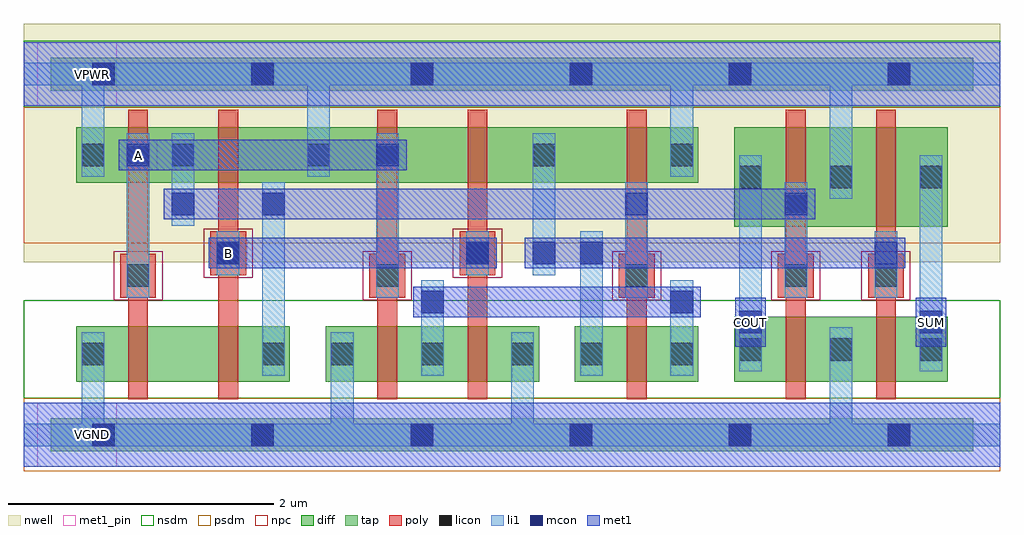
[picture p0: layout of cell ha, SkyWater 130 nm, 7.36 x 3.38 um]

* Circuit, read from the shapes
.subckt ha A B COUT SUM VGND VPWR
XM1 n1 A VGND VGND sky130_fd_pr__nfet_01v8 w=0.42 l=0.15
XM2 n2 B n1 VGND sky130_fd_pr__nfet_01v8 w=0.42 l=0.15
XM3 n3 A VGND VGND sky130_fd_pr__nfet_01v8 w=0.42 l=0.15
XM4 VGND B n3 VGND sky130_fd_pr__nfet_01v8 w=0.42 l=0.15
XM5 n3 n2 n4 VGND sky130_fd_pr__nfet_01v8 w=0.42 l=0.15
XM6 VGND n2 COUT VGND sky130_fd_pr__nfet_01v8 w=0.49 l=0.15
XM7 SUM n4 VGND VGND sky130_fd_pr__nfet_01v8 w=0.49 l=0.15
XM8 n2 A VPWR VPWR sky130_fd_pr__pfet_01v8 w=0.42 l=0.15
XM9 VPWR B n2 VPWR sky130_fd_pr__pfet_01v8 w=0.42 l=0.15
XM10 n5 A VPWR VPWR sky130_fd_pr__pfet_01v8 w=0.42 l=0.15
XM11 n4 B n5 VPWR sky130_fd_pr__pfet_01v8 w=0.42 l=0.15
XM12 VPWR n2 n4 VPWR sky130_fd_pr__pfet_01v8 w=0.42 l=0.15
XM13 VPWR n2 COUT VPWR sky130_fd_pr__pfet_01v8 w=0.75 l=0.15
XM14 SUM n4 VPWR VPWR sky130_fd_pr__pfet_01v8 w=0.75 l=0.15
.ends

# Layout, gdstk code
import gdstk
lib = gdstk.Library(unit=1e-6, precision=1e-09)
def R(c, l, rs):  # rectangles x0, y0, x1, y1
    for r in rs: c.add(gdstk.rectangle(r[:2], r[2:], *l))
def A(c, l, x, y, w, h, nx, ny, dx, dy):  # array of equal rectangles
    R(c, l, [(x+i*dx, y+j*dy, x+i*dx+w, y+j*dy+h) for i in range(nx) for j in range(ny)])
nwell = (64, 20)
diff = (65, 20)
tap = (65, 44)
poly = (66, 20)
licon = (66, 44)
li1 = (67, 20)
mcon = (67, 44)
met1_pin = (68, 16)
met1 = (68, 20)
nsdm = (93, 44)
psdm = (94, 20)
npc = (95, 20)

c_ha = lib.new_cell('ha')
R(c_ha, nwell, [(0,1.3,7.36,3.1)])
R(c_ha, diff, [(0.395,0.4,2.005,0.82), (2.275,0.4,3.885,0.82), (4.155,0.4,5.085,0.82), (5.355,0.4,6.965,0.89), (5.355,1.57,6.965,2.32), (0.395,1.9,5.085,2.32)])
R(c_ha, tap, [(0.2,-0.125,7.16,0.125), (0.2,2.595,7.16,2.845)])
A(c_ha, poly, 3.345, 0.27, 0.15, 2.18, 3, 1, 1.2, 0)
A(c_ha, poly, 0.725, 1.035, 0.27, 0.33, 3, 1, 1.88, 0)
R(c_ha, poly, [(0.785,0.27,0.935,2.45), (1.465,0.27,1.615,2.45), (2.665,0.27,2.815,2.45), (6.425,0.27,6.575,2.45), (5.685,1.035,5.955,1.365), (6.365,1.035,6.635,1.365), (1.405,1.205,1.675,1.535), (3.285,1.205,3.555,1.535)])
A(c_ha, licon, 0.515, -0.085, 0.17, 0.17, 6, 2, 1.2, 2.72)
A(c_ha, licon, 2.315, 0.525, 0.17, 0.17, 3, 1, 0.68, 0)
A(c_ha, licon, 5.395, 0.56, 0.17, 0.17, 3, 2, 0.68, 1.3)
A(c_ha, licon, 0.775, 1.115, 0.17, 0.17, 3, 1, 1.88, 0)
R(c_ha, licon, [(0.435,0.525,0.605,0.695), (1.795,0.525,1.965,0.695), (4.195,0.525,4.365,0.695), (4.875,0.525,5.045,0.695), (5.735,1.115,5.905,1.285), (6.415,1.115,6.585,1.285), (1.455,1.285,1.625,1.455), (3.335,1.285,3.505,1.455), (0.435,2.025,0.605,2.195), (1.115,2.025,1.285,2.195), (2.135,2.025,2.305,2.195), (3.835,2.025,4.005,2.195), (4.875,2.025,5.045,2.195)])
R(c_ha, li1, [(0,-0.085,7.36,0.085), (0.435,0,0.605,0.775), (2.315,0,2.485,0.775), (3.675,0,3.845,0.775), (6.075,0,6.245,0.81), (1.795,0.445,1.965,1.905), (2.995,0.445,3.165,1.165), (4.195,0.445,4.365,1.535), (4.875,0.445,5.045,1.165), (5.395,0.48,5.565,2.11), (6.755,0.48,6.925,2.11), (0.775,1.035,0.945,2.275), (2.655,1.035,2.825,2.275), (4.535,1.035,4.705,1.905), (5.735,1.035,5.905,1.905), (6.415,1.035,6.585,1.535), (1.455,1.205,1.625,1.535), (3.335,1.205,3.505,1.535), (3.835,1.205,4.005,2.275), (1.115,1.575,1.285,2.275), (6.075,1.78,6.245,2.72), (0.435,1.945,0.605,2.72), (2.135,1.945,2.305,2.72), (4.875,1.945,5.045,2.72), (0,2.635,7.36,2.805)])
A(c_ha, mcon, 0.515, -0.085, 0.17, 0.17, 6, 2, 1.2, 2.72)
R(c_ha, mcon, [(5.395,0.765,5.565,0.935), (6.755,0.765,6.925,0.935), (2.995,0.915,3.165,1.085), (4.875,0.915,5.045,1.085), (1.455,1.285,1.625,1.455), (3.335,1.285,3.505,1.455), (3.835,1.285,4.005,1.455), (4.195,1.285,4.365,1.455), (6.415,1.285,6.585,1.455), (1.115,1.655,1.285,1.825), (1.795,1.655,1.965,1.825), (4.535,1.655,4.705,1.825), (5.735,1.655,5.905,1.825), (0.775,2.025,0.945,2.195), (2.655,2.025,2.825,2.195)])
R(c_ha, met1_pin, [(0.1,-0.24,0.7,0.24), (5.365,0.665,5.595,1.035), (6.725,0.665,6.955,1.035), (1.395,1.255,1.685,1.485), (0.715,1.995,1.005,2.225), (0.1,2.48,0.7,2.96)])
R(c_ha, met1, [(0,-0.24,7.36,0.24), (5.365,0.665,5.595,1.035), (6.725,0.665,6.955,1.035), (2.935,0.885,3.225,1.115), (2.935,0.885,5.105,1.115), (4.815,0.885,5.105,1.115), (1.395,1.255,1.685,1.485), (1.395,1.255,3.565,1.485), (3.275,1.255,3.565,1.485), (3.775,1.255,4.065,1.485), (3.775,1.255,6.645,1.485), (4.135,1.255,4.425,1.485), (6.355,1.255,6.645,1.485), (1.055,1.625,1.345,1.855), (1.055,1.625,5.965,1.855), (1.735,1.625,2.025,1.855), (4.475,1.625,4.765,1.855), (5.675,1.625,5.965,1.855), (0.715,1.995,1.005,2.225), (0.715,1.995,2.885,2.225), (2.595,1.995,2.885,2.225), (0,2.48,7.36,2.96)])
R(c_ha, nsdm, [(0,0.275,7.36,1.015), (0,2.47,7.36,2.97)])
R(c_ha, psdm, [(0,-0.275,7.36,0.275), (0,1.445,7.36,2.47)])
A(c_ha, npc, 0.675, 1.015, 0.37, 0.37, 3, 1, 1.88, 0)
R(c_ha, npc, [(5.635,1.015,6.005,1.385), (6.315,1.015,6.685,1.385), (1.355,1.185,1.725,1.555), (3.235,1.185,3.605,1.555)])
c_ha.add(gdstk.Label('COUT', (5.48,0.85), layer=68, texttype=5))
c_ha.add(gdstk.Label('SUM', (6.84,0.85), layer=68, texttype=5))
c_ha.add(gdstk.Label('A', (0.86,2.11), layer=68, texttype=5))
c_ha.add(gdstk.Label('B', (1.54,1.37), layer=68, texttype=5))
c_ha.add(gdstk.Label('VGND', (0.52,0), layer=68, texttype=5))
c_ha.add(gdstk.Label('VPWR', (0.52,2.72), layer=68, texttype=5))
c_ha.add(gdstk.Label('COUT', (5.48,0.85), layer=68, texttype=16))
c_ha.add(gdstk.Label('SUM', (6.84,0.85), layer=68, texttype=16))
c_ha.add(gdstk.Label('A', (0.86,2.11), layer=68, texttype=16))
c_ha.add(gdstk.Label('B', (1.54,1.37), layer=68, texttype=16))
c_ha.add(gdstk.Label('VGND', (0.52,0), layer=68, texttype=16))
c_ha.add(gdstk.Label('VPWR', (0.52,2.72), layer=68, texttype=16))

lib.write_gds('ha.gds')
